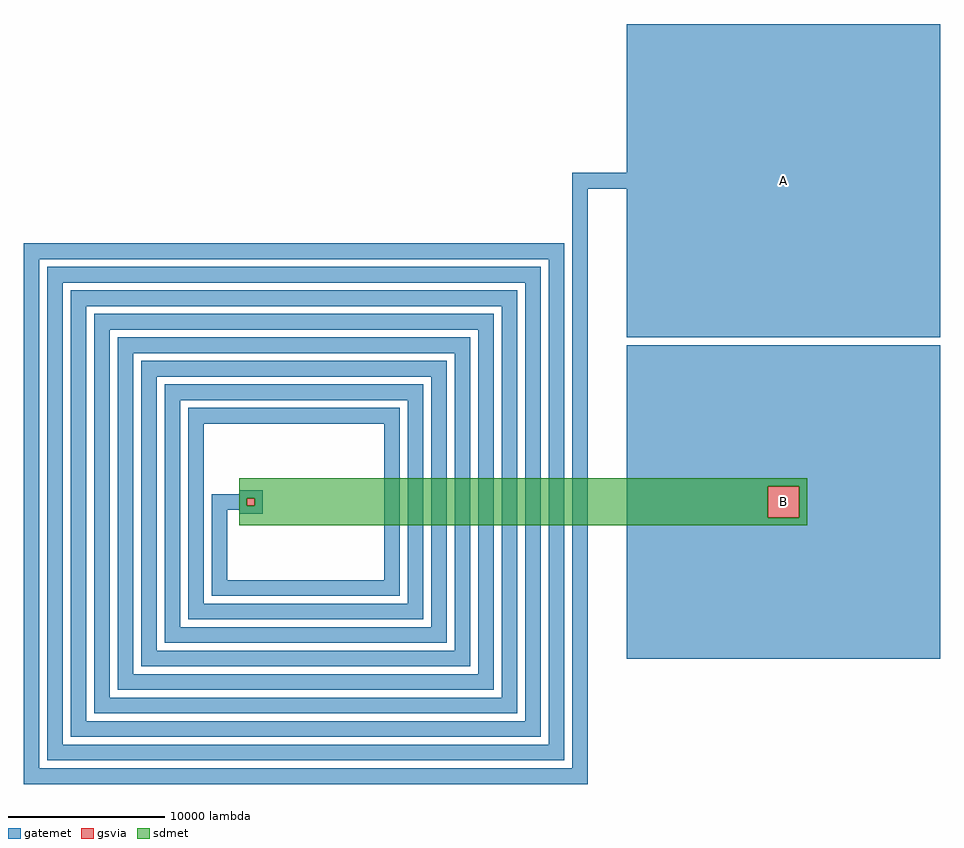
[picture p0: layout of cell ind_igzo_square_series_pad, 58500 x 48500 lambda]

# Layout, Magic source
magic
tech igzo_mmm_lab
<< sdmet >>
rect -4250 1000 32000 1500
rect -4250 250 29500 1000
rect -4250 -250 -3750 250
rect -3250 -250 29500 250
rect -4250 -1000 29500 -250
rect 31500 -1000 32000 1000
rect -4250 -1500 32000 -1000
<< gatemet >>
rect 20500 21000 40500 30500
rect 17000 20000 40500 21000
rect -18000 15500 16500 16500
rect -18000 -17000 -17000 15500
rect -16500 14000 15000 15000
rect -16500 -15500 -15500 14000
rect -15000 12500 13500 13500
rect -15000 -14000 -14000 12500
rect -13500 11000 12000 12000
rect -13500 -12500 -12500 11000
rect -12000 9500 10500 10500
rect -12000 -11000 -11000 9500
rect -10500 8000 9000 9000
rect -10500 -9500 -9500 8000
rect -9000 6500 7500 7500
rect -9000 -8000 -8000 6500
rect -7500 5000 6000 6000
rect -7500 -6500 -6500 5000
rect -4250 500 -2750 750
rect -6000 250 -2750 500
rect -6000 -250 -3750 250
rect -3250 -250 -2750 250
rect -6000 -500 -2750 -250
rect -6000 -5000 -5000 -500
rect -4250 -750 -2750 -500
rect 5000 -5000 6000 5000
rect -6000 -6000 6000 -5000
rect 6500 -6500 7500 6500
rect -7500 -7500 7500 -6500
rect 8000 -8000 9000 8000
rect -9000 -9000 9000 -8000
rect 9500 -9500 10500 9500
rect -10500 -10500 10500 -9500
rect 11000 -11000 12000 11000
rect -12000 -12000 12000 -11000
rect 12500 -12500 13500 12500
rect -13500 -13500 13500 -12500
rect 14000 -14000 15000 14000
rect -15000 -15000 15000 -14000
rect 15500 -15500 16500 15500
rect -16500 -16500 16500 -15500
rect 17000 -17000 18000 20000
rect 20500 10500 40500 20000
rect 20500 1000 40500 10000
rect 20500 -1000 29500 1000
rect 31500 -1000 40500 1000
rect 20500 -10000 40500 -1000
rect -18000 -18000 18000 -17000
<< gsvia >>
rect -3750 -250 -3250 250
rect 29500 -1000 31500 1000
<< labels >>
rlabel gatemet s 30000 20000 31000 21000 4 A
port 3 nsew
rlabel gatemet s 30000 -500 31000 500 4 B
port 5 nsew
rlabel text s 0 -20500 0 -20500 4 ind_igzo 16.38nH / 387.8Ohm @ 100MHz / Q 0.03
<< end >>
